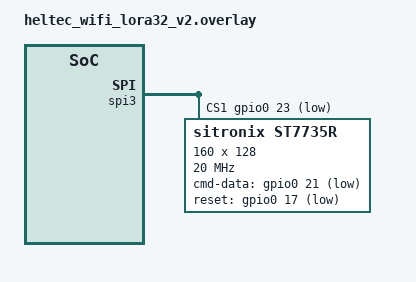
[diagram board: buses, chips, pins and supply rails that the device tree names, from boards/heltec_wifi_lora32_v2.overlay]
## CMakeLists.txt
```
# SPDX-License-Identifier: Apache-2.0

cmake_minimum_required(VERSION 3.20.0)

find_package(Zephyr REQUIRED HINTS $ENV{ZEPHYR_BASE})
project(lvgl_lora_sender)

FILE(GLOB app_sources src/*.c)
target_sources(app PRIVATE ${app_sources})
```

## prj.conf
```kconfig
CONFIG_LV_Z_MEM_POOL_NUMBER_BLOCKS=8
CONFIG_MAIN_STACK_SIZE=2048

CONFIG_DISPLAY=y
CONFIG_DISPLAY_LOG_LEVEL_ERR=y

CONFIG_LOG=y

CONFIG_LVGL=y
CONFIG_LV_MEM_CUSTOM=y
CONFIG_LV_USE_LOG=y
CONFIG_LV_USE_LABEL=y
CONFIG_LV_COLOR_16_SWAP=y
CONFIG_LV_USE_BTN=y
CONFIG_LV_USE_IMG=y
CONFIG_LV_FONT_MONTSERRAT_14=y

CONFIG_SPI=y
CONFIG_GPIO=y
CONFIG_LORA=y
CONFIG_LORA_SX12XX=y
```

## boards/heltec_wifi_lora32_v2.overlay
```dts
/*
 * Copyright (c) 2023 Gaël PORTAY
 *               2020, Kim Bøndergaard, <kim@fam-boendergaard.dk>               
 *
 * SPDX-License-Identifier: Apache-2.0
 */

/ {
	chosen {
		zephyr,display = &st7735r;
	};
};

&spi3 {
	cs-gpios = <&gpio0 18 GPIO_ACTIVE_LOW>, <&gpio0 23 GPIO_ACTIVE_LOW>;
	st7735r: st7735r@1 {
		compatible = "sitronix,st7735r";
		spi-max-frequency = <20000000>;
		reg = <1>;
		cmd-data-gpios = <&gpio0 21 GPIO_ACTIVE_LOW>;
		reset-gpios = <&gpio0 17 GPIO_ACTIVE_LOW>;
		width = <160>;
		height = <128>;
		x-offset = <0>;
		y-offset = <0>;
		madctl = <0x60>;
		colmod = <0x55>;
		vmctr1 = <0x0e>;
		pwctr1 = [a2 02 84];
		pwctr2 = [c5];
		pwctr3 = [0a 00];
		pwctr4 = [8a 2a];
		pwctr5 = [8a ee];
		frmctr1 = [01 2c 2d];
		frmctr2 = [01 2c 2d];
		frmctr3 = [01 2c 2d 01 2c 2d];
		gamctrp1 = [02 1c 07 12 37 32 29 2d 29 25 2b 39 00 01 03 10];
		gamctrn1 = [03 1d 07 06 2e 2c 29 2d 2e 2e 37 3f 00 00 02 10];
	};
};
```

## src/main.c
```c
/*
 * Copyright (c) 2023 Gaël PORTAY
 *               2023 Rtone
 *               2019 Manivannan Sadhasivam
 *               2018 Jan Van Winkel <jan.van_winkel@dxplore.eu>
 *
 * SPDX-License-Identifier: Apache-2.0
 */

#include <zephyr/device.h>
#include <zephyr/devicetree.h>
#include <zephyr/drivers/display.h>
#include <zephyr/drivers/gpio.h>
#include <zephyr/drivers/lora.h>
#include <lvgl.h>
#include <stdio.h>
#include <string.h>
#include <zephyr/kernel.h>

#define LOG_LEVEL CONFIG_LOG_DEFAULT_LEVEL
#include <zephyr/logging/log.h>
LOG_MODULE_REGISTER(app);

static uint32_t count;

#ifdef CONFIG_GPIO
static struct gpio_dt_spec button_gpio = GPIO_DT_SPEC_GET_OR(
		DT_ALIAS(sw0), gpios, {0});
static struct gpio_callback button_callback;

static void button_isr_callback(const struct device *port,
				struct gpio_callback *cb,
				uint32_t pins)
{
	ARG_UNUSED(port);
	ARG_UNUSED(cb);
	ARG_UNUSED(pins);

	count = 0;
}
#endif

#define DEFAULT_RADIO_NODE DT_ALIAS(lora0)
BUILD_ASSERT(DT_NODE_HAS_STATUS(DEFAULT_RADIO_NODE, okay),
	     "No default LoRa radio specified in DT");

#define MAX_DATA_LEN 10

char data[MAX_DATA_LEN] = {'h', 'e', 'l', 'l', 'o', 'w', 'o', 'r', 'l', 'd'};

void main(void)
{
	const struct device *const lora_dev = DEVICE_DT_GET(DEFAULT_RADIO_NODE);
	int err;
	char count_str[11] = {0};
	const struct device *display_dev;
	lv_obj_t *hello_lora_lable;
	lv_obj_t *count_label;
	struct lora_modem_config config;

	display_dev = DEVICE_DT_GET(DT_CHOSEN(zephyr_display));
	if (!device_is_ready(display_dev)) {
		LOG_ERR("%s Device not ready", display_dev->name);
		return;
	}

#ifdef CONFIG_GPIO
	if (device_is_ready(button_gpio.port)) {
		err = gpio_pin_configure_dt(&button_gpio, GPIO_INPUT);
		if (err) {
			LOG_ERR("failed to configure button gpio: %d", err);
			return;
		}

		gpio_init_callback(&button_callback, button_isr_callback,
				   BIT(button_gpio.pin));

		err = gpio_add_callback(button_gpio.port, &button_callback);
		if (err) {
			LOG_ERR("failed to add button callback: %d", err);
			return;
		}

		err = gpio_pin_interrupt_configure_dt(&button_gpio,
						      GPIO_INT_EDGE_TO_ACTIVE);
		if (err) {
			LOG_ERR("failed to enable button callback: %d", err);
			return;
		}
	}
#endif

	if (IS_ENABLED(CONFIG_LV_Z_POINTER_KSCAN)) {
		lv_obj_t *hello_lora_button;

		hello_lora_button = lv_btn_create(lv_scr_act());
		lv_obj_align(hello_lora_button, LV_ALIGN_CENTER, 0, 0);
		hello_lora_lable = lv_label_create(hello_lora_button);
	} else {
		hello_lora_lable = lv_label_create(lv_scr_act());
	}

	lv_label_set_text(hello_lora_lable, "Hello, LoRa!");
	lv_obj_align(hello_lora_lable, LV_ALIGN_CENTER, 0, 0);

	count_label = lv_label_create(lv_scr_act());
	lv_obj_align(count_label, LV_ALIGN_BOTTOM_MID, 0, 0);

	lv_task_handler();
	display_blanking_off(display_dev);

	if (!device_is_ready(lora_dev)) {
		LOG_ERR("%s Device not ready", lora_dev->name);
		return;
	}

	config.frequency = 865100000;
	config.bandwidth = BW_125_KHZ;
	config.datarate = SF_10;
	config.preamble_len = 8;
	config.coding_rate = CR_4_5;
	config.iq_inverted = false;
	config.public_network = false;
	config.tx_power = 4;
	config.tx = true;

	err = lora_config(lora_dev, &config);
	if (err < 0) {
		LOG_ERR("LoRa config failed");
		return;
	}

	while (1) {
		if ((count % 100) == 0U) {
			sprintf(count_str, "%d", count/100U);
			lv_label_set_text(count_label, count_str);
		}
		lv_task_handler();
		++count;
		if (count % 100 == 0) {
			err = lora_send(lora_dev, data, MAX_DATA_LEN);
			if (err < 0) {
				LOG_ERR("LoRa send failed");
				return;
			}
			LOG_INF("Data sent!");
		}
		k_sleep(K_MSEC(10));
	}
}
```
